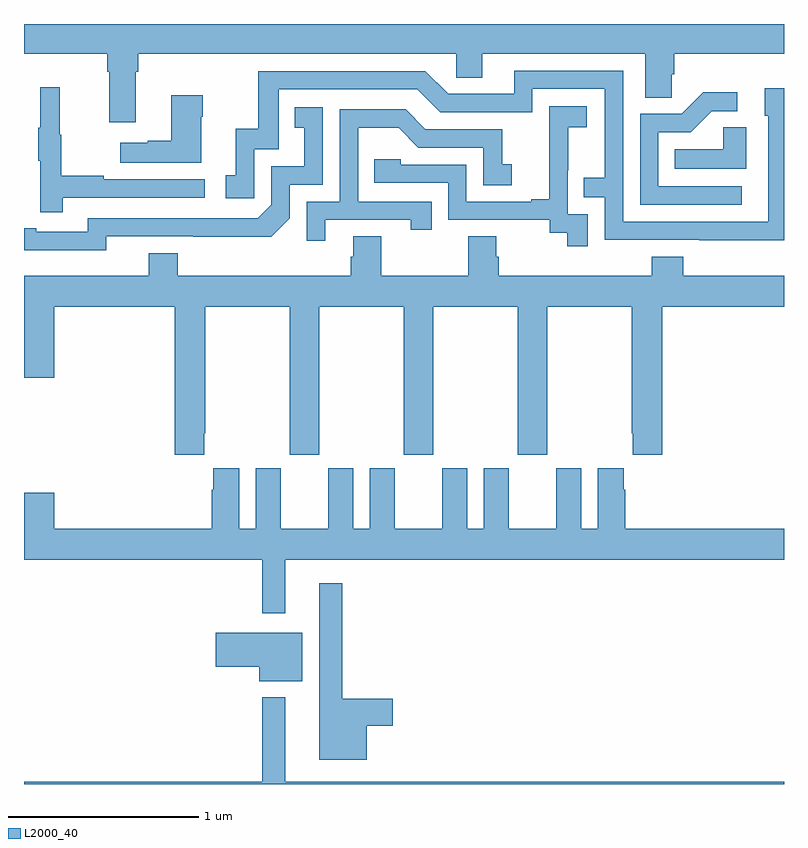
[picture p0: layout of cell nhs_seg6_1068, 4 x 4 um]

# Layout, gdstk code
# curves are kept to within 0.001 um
import gdstk
lib = gdstk.Library(unit=1e-6, precision=1e-09)
def P(c, l, *ps):  # polygons
    for p in ps: c.add(gdstk.Polygon(p, *l))
L2000_40 = (2000, 40)

nhs_seg6_1068 = lib.new_cell('nhs_seg6_1068')
P(nhs_seg6_1068, L2000_40, [(177.589,939.248),(177.602,939.248),(177.602,939.344),(179.274,939.344),(179.274,939.217),(179.413,939.217),(179.413,939.344),(180.269,939.344),(180.269,939.112),(180.408,939.112),(180.408,939.235),(180.422,939.235),(180.422,939.344),(181,939.344),(181,939.5),(177,939.5),(177,939.344),(177.437,939.344),(177.437,939.248),(177.449,939.248),(177.449,938.982),(177.589,938.982)],
  [(181,939.163),(180.899,939.163),(180.899,939.018),(180.918,939.018),(180.918,938.46),(180.153,938.46),(180.153,939.255),(179.579,939.255),(179.579,939.132),(179.232,939.132),(179.112,939.252),(178.233,939.252),(178.233,938.95),(178.115,938.95),(178.115,938.703),(178.062,938.703),(178.062,938.583),(178.212,938.583),(178.212,938.841),(178.341,938.841),(178.341,939.156),(179.07,939.156),(179.19,939.036),(179.676,939.036),(179.676,939.159),(180.057,939.159),(180.057,938.69),(179.947,938.69),(179.947,938.589),(180.057,938.589),(180.057,938.364),(181,938.363)],
  [(177.203,938.586),(177.952,938.586),(177.952,938.682),(177.419,938.682),(177.419,938.702),(177.196,938.702),(177.196,938.916),(177.188,938.916),(177.188,939.166),(177.086,939.166),(177.086,938.953),(177.075,938.953),(177.075,938.779),(177.086,938.779),(177.086,938.508),(177.203,938.508)],
  [(180.778,938.646),(180.339,938.646),(180.339,938.931),(180.508,938.931),(180.619,939.042),(180.754,939.042),(180.754,939.14),(180.575,939.14),(180.462,939.027),(180.243,939.027),(180.243,938.55),(180.778,938.55)],
  [(177.934,939.011),(177.942,939.011),(177.942,939.124),(177.776,939.124),(177.776,938.885),(177.65,938.885),(177.65,938.875),(177.507,938.875),(177.507,938.771),(177.934,938.771)],
  [(179.967,938.499),(179.862,938.499),(179.862,938.729),(179.864,938.729),(179.864,938.957),(179.962,938.957),(179.962,939.067),(179.764,939.067),(179.764,938.861),(179.765,938.861),(179.765,938.578),(179.669,938.578),(179.669,938.565),(179.328,938.565),(179.328,938.76),(178.983,938.76),(178.983,938.787),(178.843,938.787),(178.843,938.664),(179.232,938.664),(179.232,938.469),(179.766,938.469),(179.766,938.401),(179.859,938.401),(179.859,938.331),(179.967,938.331)],
  [(177.432,938.382),(178.3,938.381),(178.398,938.478),(178.398,938.655),(178.572,938.655),(178.572,939.061),(178.426,939.061),(178.426,938.955),(178.475,938.955),(178.475,938.751),(178.302,938.751),(178.302,938.55),(178.23,938.478),(177.336,938.478),(177.336,938.406),(177.064,938.406),(177.064,938.426),(177,938.426),(177,938.31),(177.432,938.309)],
  [(178.585,938.469),(179.036,938.469),(179.036,938.418),(179.147,938.418),(179.147,938.565),(178.758,938.565),(178.758,938.954),(178.972,938.954),(179.076,938.85),(179.418,938.85),(179.418,938.652),(179.566,938.652),(179.566,938.761),(179.517,938.761),(179.517,938.946),(179.113,938.946),(179.008,939.051),(178.662,939.051),(178.662,938.565),(178.488,938.565),(178.488,938.358),(178.585,938.358)],
  [(180.802,938.957),(180.681,938.957),(180.681,938.842),(180.424,938.842),(180.424,938.738),(180.802,938.738)],
  [(177.949,937.345),(177.954,937.345),(177.954,938.012),(178.399,938.012),(178.399,937.233),(178.554,937.233),(178.554,938.012),(178.999,938.012),(178.999,937.233),(179.154,937.233),(179.154,938.012),(179.599,938.012),(179.599,937.233),(179.754,937.233),(179.754,938.012),(180.199,938.012),(180.199,937.345),(180.203,937.345),(180.203,937.233),(180.359,937.233),(180.359,938.012),(181,938.012),(181,938.176),(180.47,938.176),(180.47,938.275),(180.305,938.275),(180.305,938.176),(179.498,938.176),(179.498,938.274),(179.485,938.274),(179.485,938.384),(179.338,938.384),(179.338,938.176),(178.881,938.176),(178.881,938.384),(178.733,938.384),(178.733,938.274),(178.721,938.274),(178.721,938.176),(177.809,938.176),(177.809,938.293),(177.656,938.293),(177.656,938.176),(177,938.176),(177,937.638),(177.16,937.638),(177.16,938.012),(177.794,938.012),(177.794,937.233),(177.949,937.233)],
  [(178.375,936.68),(181,936.68),(181,936.844),(180.164,936.844),(180.164,937.049),(180.157,937.049),(180.157,937.162),(180.02,937.162),(180.02,936.844),(179.932,936.844),(179.932,937.162),(179.801,937.162),(179.801,936.844),(179.551,936.844),(179.551,937.162),(179.42,937.162),(179.42,936.844),(179.332,936.844),(179.332,937.162),(179.201,937.162),(179.201,936.844),(178.951,936.844),(178.951,937.162),(178.82,937.162),(178.82,936.844),(178.732,936.844),(178.732,937.162),(178.601,937.162),(178.601,936.844),(178.351,936.844),(178.351,937.162),(178.22,937.162),(178.22,936.844),(178.132,936.844),(178.132,937.162),(177.995,937.162),(177.995,937.049),(177.989,937.049),(177.989,936.844),(177.16,936.844),(177.16,937.033),(177,937.033),(177,936.68),(178.254,936.68),(178.254,936.399),(178.375,936.399)],
  [(178.804,935.806),(178.942,935.806),(178.942,935.948),(178.675,935.948),(178.675,936.556),(178.553,936.556),(178.553,935.627),(178.804,935.627)],
  [(178.465,936.295),(178.008,936.295),(178.008,936.116),(178.238,936.116),(178.238,936.041),(178.465,936.041)],
  [(181,935.512),(178.375,935.512),(178.375,935.956),(178.254,935.956),(178.254,935.512),(177,935.512),(177,935.5),(181,935.5)])

lib.write_gds('nhs_seg6_1068.gds')
